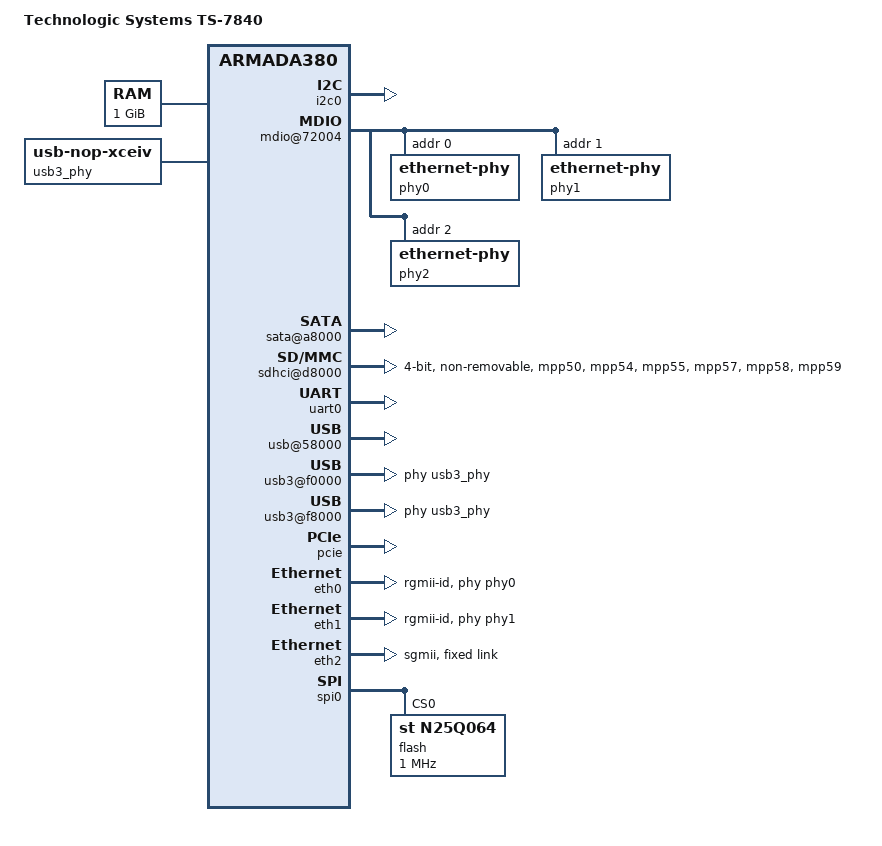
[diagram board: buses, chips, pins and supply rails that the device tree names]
/*
 * Device Tree file for Technologic Systems TS-7820
 *
 *  Copyright (C) 2017 Technologic Systems
 *
 * Mark Featherston <mark@embeddedarm.com>
 *
 * This file is dual-licensed: you can use it either under the terms
 * of the GPL or the X11 license, at your option. Note that this dual
 * licensing only applies to this file, and not this project as a
 * whole.
 *
 *  a) This file is licensed under the terms of the GNU General Public
 *     License version 2.  This program is licensed "as is" without
 *     any warranty of any kind, whether express or implied.
 *
 * Or, alternatively,
 *
 *  b) Permission is hereby granted, free of charge, to any person
 *     obtaining a copy of this software and associated documentation
 *     files (the "Software"), to deal in the Software without
 *     restriction, including without limitation the rights to use,
 *     copy, modify, merge, publish, distribute, sublicense, and/or
 *     sell copies of the Software, and to permit persons to whom the
 *     Software is furnished to do so, subject to the following
 *     conditions:
 *
 *     The above copyright notice and this permission notice shall be
 *     included in all copies or substantial portions of the Software.
 *
 *     THE SOFTWARE IS PROVIDED "AS IS", WITHOUT WARRANTY OF ANY KIND,
 *     EXPRESS OR IMPLIED, INCLUDING BUT NOT LIMITED TO THE WARRANTIES
 *     OF MERCHANTABILITY, FITNESS FOR A PARTICULAR PURPOSE AND
 *     NONINFRINGEMENT. IN NO EVENT SHALL THE AUTHORS OR COPYRIGHT
 *     HOLDERS BE LIABLE FOR ANY CLAIM, DAMAGES OR OTHER LIABILITY,
 *     WHETHER IN AN ACTION OF CONTRACT, TORT OR OTHERWISE, ARISING
 *     FROM, OUT OF OR IN CONNECTION WITH THE SOFTWARE OR THE USE OR
 *     OTHER DEALINGS IN THE SOFTWARE.
 */

/dts-v1/;
#include "armada-385.dtsi"

#include <dt-bindings/gpio/gpio.h>

/ {
	model = "Technologic Systems TS-7840";
	compatible = "technologic,a385-ts7840", "marvell,armada385", "marvell,armada380";

	aliases {
		ethernet1 = &eth0;
		ethernet2 = &eth1;
		ethernet3 = &eth2;
		spi0 = &spi0;
	};

	chosen {
		stdout-path = "serial0:115200n8";
	};

	memory {
		device_type = "memory";
		reg = <0x00000000 0x40000000>; /* 1GB */
	};

	soc {
		ranges = <MBUS_ID(0xf0, 0x01) 0 0xf1000000 0x100000
			  MBUS_ID(0x01, 0x1d) 0 0xfff00000 0x100000
			  MBUS_ID(0x09, 0x19) 0 0xf1100000 0x10000
			  MBUS_ID(0x09, 0x15) 0 0xf1110000 0x10000>;

		internal-regs {
			bm@c8000 {
				status = "okay";
			};

			i2c0: i2c@11000 {
				pinctrl-names = "default";
				pinctrl-0 = <&i2c0_pins>;
				status = "okay";
			};

			mdio@72004 {
				pinctrl-names = "default";
				pinctrl-0 = <&mdio_pins>;

				phy0: ethernet-phy@0 {
					reg = <0>;
				};

				phy1: ethernet-phy@1 {
					reg = <1>;
				};

				/* eth switch */
				phy2: ethernet-phy@2 {
					reg = <2>;
				};
			};

			pinctrl: pinctrl@18000 {
				sdhci_pins0: sdhci-pins0 {
					marvell,pins = "mpp50", "mpp54", "mpp55",
						       "mpp57", "mpp58", "mpp59";
					marvell,function = "sd0";
				};
			};


			sata@a8000 {
				status = "okay";
			};

			sdhci@d8000 {
				bus-width = <4>;
				no-1-8-v;
				non-removable;
				pinctrl-0 = <&sdhci_pins0>;
				pinctrl-names = "default";
				status = "okay";
			};

			uart0: serial@12000 {
				pinctrl-names = "default";
				pinctrl-0 = <&uart0_pins>;
				status = "okay";
				u-boot,dm-pre-reloc;
			};

			usb@58000 {
				status = "okay";
			};

			usb3@f0000 {
				status = "okay";
				usb-phy = <&usb3_phy>;
			};

			usb3@f8000 {
				status = "okay";
				usb-phy = <&usb3_phy>;
			};
		};

		bm-bppi {
			status = "okay";
		};

		pcie {
			status = "okay";

			/* full size PCIe connector */
			pcie@1,0 {
				/* Port 0, Lane 0 */
				status = "okay";
			};

			/* M.2 WIFI */
			pcie@2,0 {
				/* Port 1, Lane 0 */
				status = "okay";
			};

			/* FPGA */
			pcie@3,0 {
				/* Port 2, Lane 0 */
				status = "okay";
			};
		};
	};

	usb3_phy: usb3_phy {
		compatible = "usb-nop-xceiv";
		/* Set up a vcc_supply for U16 on the FPGA */
		/*vcc-supply = <&reg_xhci0_vbus>; */
	};

	/* Hook up to EN_USB_5V on FPGA
	reg_xhci0_vbus: xhci0-vbus {
		compatible = "regulator-fixed";
		pinctrl-names = "default";
		pinctrl-0 = <&xhci0_vbus_pins>;
		regulator-name = "xhci0-vbus";
		regulator-min-microvolt = <5000000>;
		regulator-max-microvolt = <5000000>;
		enable-active-high;
		gpio = <&gpio1 12 GPIO_ACTIVE_HIGH>;
	};*/
};

/* magjack/sfp port 0 */
&eth0 {
	pinctrl-names = "default";
	pinctrl-0 = <&ge0_rgmii_pins>;
	status = "okay";
	phy = <&phy0>;
	phy-mode = "rgmii-id";
};

/* magjack/sfgp port 1 */
&eth1 {
	pinctrl-names = "default";
	pinctrl-0 = <&ge1_rgmii_pins>;
	status = "okay";
	phy = <&phy1>;
	phy-mode = "rgmii-id";
};

/* sgmii port to eth switch */
&eth2 {
	status = "okay";
	phy-mode = "sgmii";

	fixed-link {
		speed = <1000>;
		full-duplex;
	};
};

&spi0 {
	pinctrl-names = "default";
	pinctrl-0 = <&spi0_pins>;
	status = "okay";
	u-boot,dm-pre-reloc;

	flash: n25q064@0 {
		#address-cells = <1>;
		#size-cells = <1>;
		compatible = "st,n25q064";
		spi-max-frequency = <1000000>;
		reg = <0>;
		u-boot,dm-pre-reloc;
	};
};
